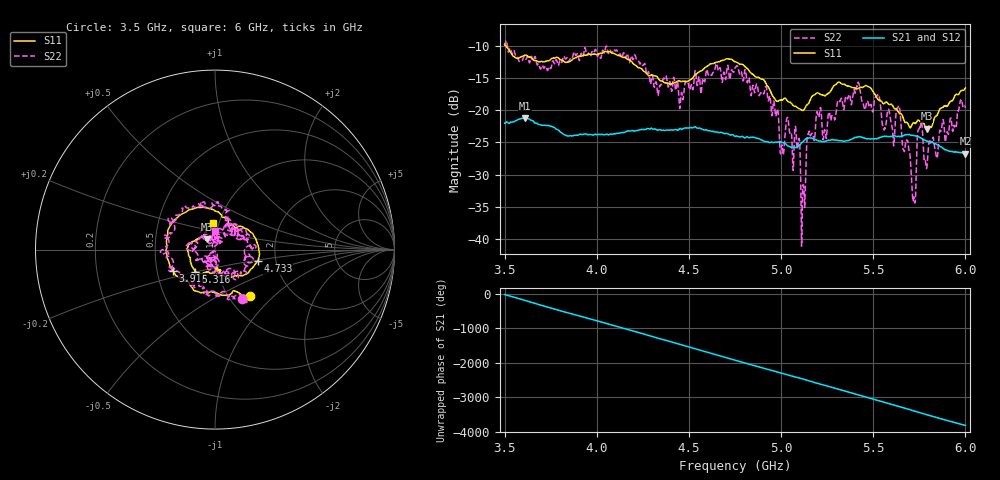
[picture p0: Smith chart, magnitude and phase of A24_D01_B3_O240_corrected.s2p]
! Created with skrf 1.9.0 (http://scikit-rf.org).
# Hz S RI R 50.0
!freq ReS11 ImS11 ReS21 ImS21 ReS12 ImS12 ReS22 ImS22
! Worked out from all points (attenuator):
!   1601 points, 3.5 GHz to 6 GHz, reference 50 ohm
!   highest |S21| = -21.24 dB at 3.611 GHz (marker M1); lowest = -26.8 dB at 6 GHz (marker M2)
!   lowest |S11| = -22.9 dB at 5.789 GHz (marker M3), VSWR 1.15, Z = 45.6 + j5.24 ohm
!   |S11| at or under -10 dB: 3.505 GHz to end of sweep
!   |S22| runs from -41.1 to -9.2 dB; largest |S21 - S12| = 0.0013
!   S11 on the Smith chart (normalised r, x): 3.5 GHz: 1.25, -0.72; 3.916 GHz: 0.61, -0.15; 4.733 GHz: 1.61, -0.22; 5.316 GHz: 0.78, -0.20; 6 GHz: 0.94, +0.28
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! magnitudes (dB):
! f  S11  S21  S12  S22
! 3.5 GHz  -9.8  -22.0  -22.0  -10.1
! 3.611 GHz  -11.5  -21.2  -21.3  -11.9
! 3.916 GHz  -11.7  -23.8  -23.8  -11.2
! 3.917 GHz  -11.6  -23.8  -23.8  -11.2
! 4.213 GHz  -13.1  -23.2  -23.2  -11.9
! 4.334 GHz  -15.1  -23.1  -23.0  -17.6
! 4.733 GHz  -12.2  -23.8  -23.8  -13.8
! 4.75 GHz  -12.5  -24.1  -24.0  -13.5
! 4.927 GHz  -16.3  -24.9  -24.9  -17.9
! 5.005 GHz  -18.4  -25.0  -25.0  -25.4
! 5.034 GHz  -18.6  -25.5  -25.4  -21.1
! 5.088 GHz  -19.6  -25.7  -25.7  -26.1
! 5.12 GHz  -20.0  -24.9  -24.8  -31.6
! 5.147 GHz  -19.0  -24.3  -24.4  -23.7
! 5.167 GHz  -17.9  -24.4  -24.3  -23.6
! 5.316 GHz  -15.6  -24.7  -24.7  -18.6
! 5.584 GHz  -19.1  -24.1  -24.1  -19.9
! 5.638 GHz  -20.4  -24.1  -24.1  -19.3
! 5.719 GHz  -22.0  -23.9  -23.9  -33.8
! 5.752 GHz  -21.7  -24.2  -24.2  -22.7
! 5.789 GHz  -22.9  -24.8  -24.8  -29.1
! 6 GHz  -16.6  -26.8  -26.7  -19.7
